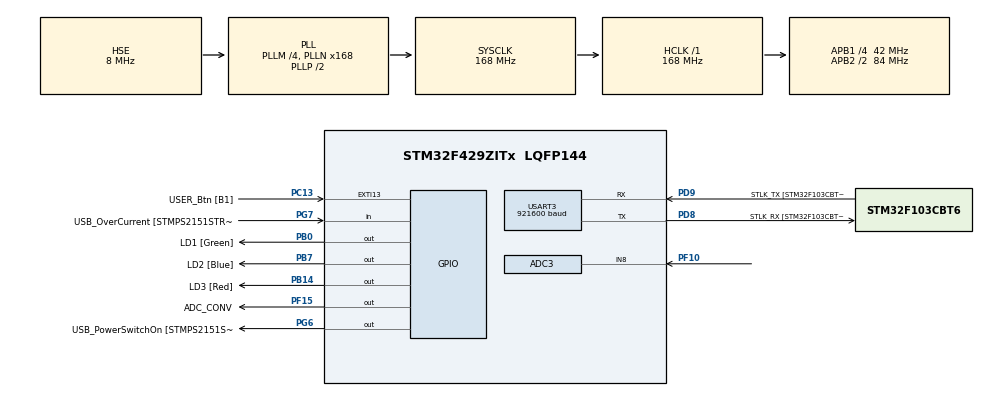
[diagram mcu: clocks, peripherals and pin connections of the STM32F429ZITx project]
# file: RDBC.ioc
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ADC3.Channel-0\#ChannelRegularConversion=ADC_CHANNEL_8
ADC3.ContinuousConvMode=DISABLE
ADC3.EOCSelection=ADC_EOC_SEQ_CONV
ADC3.NbrOfConversionFlag=1
ADC3.Rank-0\#ChannelRegularConversion=1
ADC3.SamplingTime-0\#ChannelRegularConversion=ADC_SAMPLETIME_3CYCLES
Mcu.Family=STM32F4
Mcu.Name=STM32F429ZITx
Mcu.Package=LQFP144
NVIC.ADC_IRQn=true\:0\:0\:false\:false\:true\:true\:true
NVIC.PriorityGroup=NVIC_PRIORITYGROUP_4
PA1.GPIO_Label=RMII_REF_CLK [LAN8742A-CZ-TR_REFCLK0]
PA1.Signal=ETH_REF_CLK
PA10.GPIO_Label=USB_ID
PA10.Signal=USB_OTG_FS_ID
PA11.GPIO_Label=USB_DM
PA11.Signal=USB_OTG_FS_DM
PA12.GPIO_Label=USB_DP
PA12.Signal=USB_OTG_FS_DP
PA13.GPIO_Label=TMS
PA13.Mode=Serial_Wire
PA13.Signal=SYS_JTMS-SWDIO
PA14.GPIO_Label=TCK
PA14.Mode=Serial_Wire
PA14.Signal=SYS_JTCK-SWCLK
PA2.GPIO_Label=RMII_MDIO [LAN8742A-CZ-TR_MDIO]
PA2.Signal=ETH_MDIO
PA7.GPIO_Label=RMII_CRS_DV [LAN8742A-CZ-TR_CRS_DV]
PA7.Signal=ETH_CRS_DV
PA8.GPIO_Label=USB_SOF [TP1]
PA8.Signal=USB_OTG_FS_SOF
PA9.GPIO_Label=USB_VBUS
PA9.Signal=USB_OTG_FS_VBUS
PB0.GPIO_Label=LD1 [Green]
PB0.Signal=GPIO_Output
PB13.GPIO_Label=RMII_TXD1 [LAN8742A-CZ-TR_TXD1]
PB13.Signal=ETH_TXD1
PB14.GPIO_Label=LD3 [Red]
PB14.Signal=GPIO_Output
PB7.GPIO_Label=LD2 [Blue]
PB7.Signal=GPIO_Output
PC1.GPIO_Label=RMII_MDC [LAN8742A-CZ-TR_MDC]
PC1.Signal=ETH_MDC
PC13.GPIO_Label=USER_Btn [B1]
PC13.Signal=GPXTI13
PC14/OSC32_IN.Mode=LSE-External-Oscillator
PC14/OSC32_IN.Signal=RCC_OSC32_IN
PC15/OSC32_OUT.Mode=LSE-External-Oscillator
PC15/OSC32_OUT.Signal=RCC_OSC32_OUT
PC4.GPIO_Label=RMII_RXD0 [LAN8742A-CZ-TR_RXD0]
PC4.Signal=ETH_RXD0
PC5.GPIO_Label=RMII_RXD1 [LAN8742A-CZ-TR_RXD1]
PC5.Signal=ETH_RXD1
PD8.GPIO_Label=STLK_RX [STM32F103CBT6_PA3]
PD8.Mode=Asynchronous
PD8.Signal=USART3_TX
PD9.GPIO_Label=STLK_TX [STM32F103CBT6_PA2]
PD9.Mode=Asynchronous
PD9.Signal=USART3_RX
PF10.Mode=IN8
PF10.Signal=ADC3_IN8
PF15.GPIO_Label=ADC_CONV
PF15.GPIO_PuPd=GPIO_PULLDOWN
PF15.Signal=GPIO_Output
PG11.GPIO_Label=RMII_TX_EN [LAN8742A-CZ-TR_TXEN]
PG11.Signal=ETH_TX_EN
PG13.GPIO_Label=RMII_TXD0 [LAN8742A-CZ-TR_TXD0]
PG13.Signal=ETH_TXD0
PG6.GPIO_Label=USB_PowerSwitchOn [STMPS2151STR_EN]
PG6.Signal=GPIO_Output
PG7.GPIO_Label=USB_OverCurrent [STMPS2151STR_FAULT]
PG7.Signal=GPIO_Input
PH0/OSC_IN.GPIO_Label=MCO [STM32F103CBT6_PA8]
PH0/OSC_IN.Mode=HSE-External-Clock-Source
PH0/OSC_IN.Signal=RCC_OSC_IN
PH1/OSC_OUT.Mode=HSE-External-Clock-Source
PH1/OSC_OUT.Signal=RCC_OSC_OUT
ProjectManager.HeapSize=0x200
ProjectManager.StackSize=0x400
ProjectManager.TargetToolchain=STM32CubeIDE
RCC.48MHZClocksFreq_Value=48000000
RCC.AHBFreq_Value=168000000
RCC.APB1CLKDivider=RCC_HCLK_DIV4
RCC.APB1Freq_Value=42000000
RCC.APB1TimFreq_Value=84000000
RCC.APB2CLKDivider=RCC_HCLK_DIV2
RCC.APB2Freq_Value=84000000
RCC.APB2TimCLKDivider=2
RCC.APB2TimFreq_Value=168000000
RCC.CortexFreq_Value=168000000
RCC.HCLKFreq_Value=168000000
RCC.HSE_VALUE=8000000
RCC.HSI_VALUE=16000000
RCC.PLLM=4
RCC.PLLMUL=RCC_PLL_MUL9
RCC.PLLN=168
RCC.PLLQ=7
RCC.PLLSourceVirtual=RCC_PLLSOURCE_HSE
RCC.PRESCALERUSB=RCC_USBCLKSOURCE_PLL_DIV1_5
RCC.SYSCLKFreq_VALUE=168000000
RCC.SYSCLKSource=RCC_SYSCLKSOURCE_PLLCLK
RCC.SYSCLKSourceVirtual=RCC_SYSCLKSOURCE_PLLCLK
RCC.USBFreq_Value=48000000
RCC.VCOOutputFreq_Value=336000000
USART3.BaudRate=921600
USART3.VirtualMode=VM_ASYNC
board=NUCLEO-F429ZI

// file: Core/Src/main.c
/* USER CODE BEGIN Header */
/**
  ******************************************************************************
  * @file           : main.c
  * @brief          : Main program body
  ******************************************************************************
  * @attention
  *
  * Copyright (c) 2021 STMicroelectronics.
  * All rights reserved.
  *
  * This software is licensed under terms that can be found in the LICENSE file
  * in the root directory of this software component.
  * If no LICENSE file comes with this software, it is provided AS-IS.
  *
  ******************************************************************************
  */
/* USER CODE END Header */
#include "main.h"

/* USER CODE BEGIN Includes */

#include <string.h>
#include <stdio.h>

/* USER CODE END Includes */

ADC_HandleTypeDef hadc3;

UART_HandleTypeDef huart3;

void SystemClock_Config(void);
static void MX_GPIO_Init(void);
static void MX_USART3_UART_Init(void);
static void MX_ADC3_Init(void);

int main(void)
{

  /* MCU Configuration--------------------------------------------------------*/

  /* Reset of all peripherals, Initializes the Flash interface and the Systick. */
  HAL_Init();

  /* Configure the system clock */
  SystemClock_Config();

  /* Initialize all configured peripherals */
  MX_GPIO_Init();
  MX_USART3_UART_Init();
  MX_ADC3_Init();

  /* Infinite loop */
  /* USER CODE BEGIN WHILE */
  if (HAL_ADC_Start_IT(&hadc3) != HAL_OK)
  {
    /* Start Conversation Error */
    Error_Handler();
  }

  while (1)
  {
    /* USER CODE END WHILE */

  }
}

void SystemClock_Config(void)
{
  RCC_OscInitTypeDef RCC_OscInitStruct = {0};
  RCC_ClkInitTypeDef RCC_ClkInitStruct = {0};

  /** Configure the main internal regulator output voltage
  */
  __HAL_RCC_PWR_CLK_ENABLE();
  __HAL_PWR_VOLTAGESCALING_CONFIG(PWR_REGULATOR_VOLTAGE_SCALE1);
  /** Initializes the RCC Oscillators according to the specified parameters
  * in the RCC_OscInitTypeDef structure.
  */
  RCC_OscInitStruct.OscillatorType = RCC_OSCILLATORTYPE_HSE;
  RCC_OscInitStruct.HSEState = RCC_HSE_BYPASS;
  RCC_OscInitStruct.PLL.PLLState = RCC_PLL_ON;
  RCC_OscInitStruct.PLL.PLLSource = RCC_PLLSOURCE_HSE;
  RCC_OscInitStruct.PLL.PLLM = 4;
  RCC_OscInitStruct.PLL.PLLN = 168;
  RCC_OscInitStruct.PLL.PLLP = RCC_PLLP_DIV2;
  RCC_OscInitStruct.PLL.PLLQ = 7;
  if (HAL_RCC_OscConfig(&RCC_OscInitStruct) != HAL_OK)
  {
    Error_Handler();
  }
  /** Initializes the CPU, AHB and APB buses clocks
  */
  RCC_ClkInitStruct.ClockType = RCC_CLOCKTYPE_HCLK|RCC_CLOCKTYPE_SYSCLK
                              |RCC_CLOCKTYPE_PCLK1|RCC_CLOCKTYPE_PCLK2;
  RCC_ClkInitStruct.SYSCLKSource = RCC_SYSCLKSOURCE_PLLCLK;
  RCC_ClkInitStruct.AHBCLKDivider = RCC_SYSCLK_DIV1;
  RCC_ClkInitStruct.APB1CLKDivider = RCC_HCLK_DIV4;
  RCC_ClkInitStruct.APB2CLKDivider = RCC_HCLK_DIV2;

  if (HAL_RCC_ClockConfig(&RCC_ClkInitStruct, FLASH_LATENCY_5) != HAL_OK)
  {
    Error_Handler();
  }
}

static void MX_ADC3_Init(void)
{

  ADC_ChannelConfTypeDef sConfig = {0};

  /** Configure the global features of the ADC (Clock, Resolution, Data Alignment and number of conversion)
  */
  hadc3.Instance = ADC3;
  hadc3.Init.ClockPrescaler = ADC_CLOCK_SYNC_PCLK_DIV4;
  hadc3.Init.Resolution = ADC_RESOLUTION_12B;
  hadc3.Init.ScanConvMode = DISABLE;
  hadc3.Init.ContinuousConvMode = DISABLE;
  hadc3.Init.DiscontinuousConvMode = DISABLE;
  hadc3.Init.ExternalTrigConvEdge = ADC_EXTERNALTRIGCONVEDGE_NONE;
  hadc3.Init.ExternalTrigConv = ADC_SOFTWARE_START;
  hadc3.Init.DataAlign = ADC_DATAALIGN_RIGHT;
  hadc3.Init.NbrOfConversion = 1;
  hadc3.Init.DMAContinuousRequests = DISABLE;
  hadc3.Init.EOCSelection = ADC_EOC_SEQ_CONV;
  if (HAL_ADC_Init(&hadc3) != HAL_OK)
  {
    Error_Handler();
  }
  /** Configure for the selected ADC regular channel its corresponding rank in the sequencer and its sample time.
  */
  sConfig.Channel = ADC_CHANNEL_8;
  sConfig.Rank = 1;
  sConfig.SamplingTime = ADC_SAMPLETIME_3CYCLES;
  if (HAL_ADC_ConfigChannel(&hadc3, &sConfig) != HAL_OK)
  {
    Error_Handler();
  }

}

static void MX_USART3_UART_Init(void)
{

  huart3.Instance = USART3;
  huart3.Init.BaudRate = 921600;
  huart3.Init.WordLength = UART_WORDLENGTH_8B;
  huart3.Init.StopBits = UART_STOPBITS_1;
  huart3.Init.Parity = UART_PARITY_NONE;
  huart3.Init.Mode = UART_MODE_TX_RX;
  huart3.Init.HwFlowCtl = UART_HWCONTROL_NONE;
  huart3.Init.OverSampling = UART_OVERSAMPLING_16;
  if (HAL_UART_Init(&huart3) != HAL_OK)
  {
    Error_Handler();
  }

}

static void MX_GPIO_Init(void)
{
  GPIO_InitTypeDef GPIO_InitStruct = {0};

  /* GPIO Ports Clock Enable */
  __HAL_RCC_GPIOC_CLK_ENABLE();
  __HAL_RCC_GPIOF_CLK_ENABLE();
  __HAL_RCC_GPIOH_CLK_ENABLE();
  __HAL_RCC_GPIOA_CLK_ENABLE();
  __HAL_RCC_GPIOB_CLK_ENABLE();
  __HAL_RCC_GPIOD_CLK_ENABLE();
  __HAL_RCC_GPIOG_CLK_ENABLE();

  /*Configure GPIO pin Output Level */
  HAL_GPIO_WritePin(GPIOB, LD1_Pin|LD3_Pin|LD2_Pin, GPIO_PIN_RESET);

  /*Configure GPIO pin Output Level */
  HAL_GPIO_WritePin(ADC_CONV_GPIO_Port, ADC_CONV_Pin, GPIO_PIN_RESET);

  /*Configure GPIO pin Output Level */
  HAL_GPIO_WritePin(USB_PowerSwitchOn_GPIO_Port, USB_PowerSwitchOn_Pin, GPIO_PIN_RESET);

  /*Configure GPIO pin : USER_Btn_Pin */
  GPIO_InitStruct.Pin = USER_Btn_Pin;
  GPIO_InitStruct.Mode = GPIO_MODE_IT_RISING;
  GPIO_InitStruct.Pull = GPIO_NOPULL;
  HAL_GPIO_Init(USER_Btn_GPIO_Port, &GPIO_InitStruct);

  /*Configure GPIO pins : RMII_MDC_Pin RMII_RXD0_Pin RMII_RXD1_Pin */
  GPIO_InitStruct.Pin = RMII_MDC_Pin|RMII_RXD0_Pin|RMII_RXD1_Pin;
  GPIO_InitStruct.Mode = GPIO_MODE_AF_PP;
  GPIO_InitStruct.Pull = GPIO_NOPULL;
  GPIO_InitStruct.Speed = GPIO_SPEED_FREQ_VERY_HIGH;
  GPIO_InitStruct.Alternate = GPIO_AF11_ETH;
  HAL_GPIO_Init(GPIOC, &GPIO_InitStruct);

  /*Configure GPIO pins : RMII_REF_CLK_Pin RMII_MDIO_Pin RMII_CRS_DV_Pin */
  GPIO_InitStruct.Pin = RMII_REF_CLK_Pin|RMII_MDIO_Pin|RMII_CRS_DV_Pin;
  GPIO_InitStruct.Mode = GPIO_MODE_AF_PP;
  GPIO_InitStruct.Pull = GPIO_NOPULL;
  GPIO_InitStruct.Speed = GPIO_SPEED_FREQ_VERY_HIGH;
  GPIO_InitStruct.Alternate = GPIO_AF11_ETH;
  HAL_GPIO_Init(GPIOA, &GPIO_InitStruct);

  /*Configure GPIO pins : LD1_Pin LD3_Pin LD2_Pin */
  GPIO_InitStruct.Pin = LD1_Pin|LD3_Pin|LD2_Pin;
  GPIO_InitStruct.Mode = GPIO_MODE_OUTPUT_PP;
  GPIO_InitStruct.Pull = GPIO_NOPULL;
  GPIO_InitStruct.Speed = GPIO_SPEED_FREQ_LOW;
  HAL_GPIO_Init(GPIOB, &GPIO_InitStruct);

  /*Configure GPIO pin : ADC_CONV_Pin */
  GPIO_InitStruct.Pin = ADC_CONV_Pin;
  GPIO_InitStruct.Mode = GPIO_MODE_OUTPUT_PP;
  GPIO_InitStruct.Pull = GPIO_PULLDOWN;
  GPIO_InitStruct.Speed = GPIO_SPEED_FREQ_LOW;
  HAL_GPIO_Init(ADC_CONV_GPIO_Port, &GPIO_InitStruct);

  /*Configure GPIO pin : RMII_TXD1_Pin */
  GPIO_InitStruct.Pin = RMII_TXD1_Pin;
  GPIO_InitStruct.Mode = GPIO_MODE_AF_PP;
  GPIO_InitStruct.Pull = GPIO_NOPULL;
  GPIO_InitStruct.Speed = GPIO_SPEED_FREQ_VERY_HIGH;
  GPIO_InitStruct.Alternate = GPIO_AF11_ETH;
  HAL_GPIO_Init(RMII_TXD1_GPIO_Port, &GPIO_InitStruct);

  /*Configure GPIO pin : USB_PowerSwitchOn_Pin */
  GPIO_InitStruct.Pin = USB_PowerSwitchOn_Pin;
  GPIO_InitStruct.Mode = GPIO_MODE_OUTPUT_PP;
  GPIO_InitStruct.Pull = GPIO_NOPULL;
  GPIO_InitStruct.Speed = GPIO_SPEED_FREQ_LOW;
  HAL_GPIO_Init(USB_PowerSwitchOn_GPIO_Port, &GPIO_InitStruct);

  /*Configure GPIO pin : USB_OverCurrent_Pin */
  GPIO_InitStruct.Pin = USB_OverCurrent_Pin;
  GPIO_InitStruct.Mode = GPIO_MODE_INPUT;
  GPIO_InitStruct.Pull = GPIO_NOPULL;
  HAL_GPIO_Init(USB_OverCurrent_GPIO_Port, &GPIO_InitStruct);

  /*Configure GPIO pins : USB_SOF_Pin USB_ID_Pin USB_DM_Pin USB_DP_Pin */
  GPIO_InitStruct.Pin = USB_SOF_Pin|USB_ID_Pin|USB_DM_Pin|USB_DP_Pin;
  GPIO_InitStruct.Mode = GPIO_MODE_AF_PP;
  GPIO_InitStruct.Pull = GPIO_NOPULL;
  GPIO_InitStruct.Speed = GPIO_SPEED_FREQ_VERY_HIGH;
  GPIO_InitStruct.Alternate = GPIO_AF10_OTG_FS;
  HAL_GPIO_Init(GPIOA, &GPIO_InitStruct);

  /*Configure GPIO pin : USB_VBUS_Pin */
  GPIO_InitStruct.Pin = USB_VBUS_Pin;
  GPIO_InitStruct.Mode = GPIO_MODE_INPUT;
  GPIO_InitStruct.Pull = GPIO_NOPULL;
  HAL_GPIO_Init(USB_VBUS_GPIO_Port, &GPIO_InitStruct);

  /*Configure GPIO pins : RMII_TX_EN_Pin RMII_TXD0_Pin */
  GPIO_InitStruct.Pin = RMII_TX_EN_Pin|RMII_TXD0_Pin;
  GPIO_InitStruct.Mode = GPIO_MODE_AF_PP;
  GPIO_InitStruct.Pull = GPIO_NOPULL;
  GPIO_InitStruct.Speed = GPIO_SPEED_FREQ_VERY_HIGH;
  GPIO_InitStruct.Alternate = GPIO_AF11_ETH;
  HAL_GPIO_Init(GPIOG, &GPIO_InitStruct);

}

/* USER CODE BEGIN 4 */

void HAL_ADC_ConvCpltCallback(ADC_HandleTypeDef* AdcHandle)
{
  static unsigned int count = 0;

  /* turn on PF15 */
  GPIOF -> ODR |= GPIO_PIN_15;

  /* Get the converted value of regular channel */
  char str[10];

  count++;
  if(count%256)
  {
	  sprintf(str, "%04ld\t", HAL_ADC_GetValue(AdcHandle));
  }
  else
  {
	  sprintf(str, "%04ld\n", HAL_ADC_GetValue(AdcHandle));
  }

  HAL_UART_Transmit(&huart3, (uint8_t*)str, 5, 0xFFFF);

  for(int i = 0; i < 12010; i++);

  if (HAL_ADC_Start_IT(&hadc3) != HAL_OK)
  {
    /* Start Conversation Error */
    Error_Handler();
  }

  /* turn off PF15 */
  GPIOF -> ODR &= ~GPIO_PIN_15;
}

/* USER CODE END 4 */

void Error_Handler(void)
{
  __disable_irq();
  while (1)
  {
  }
}
